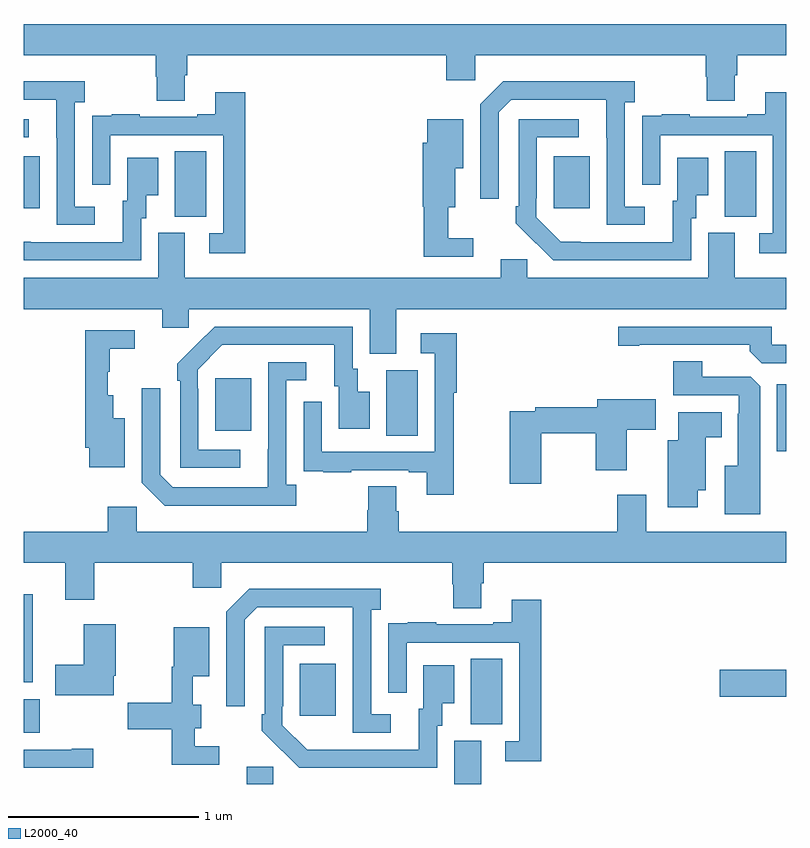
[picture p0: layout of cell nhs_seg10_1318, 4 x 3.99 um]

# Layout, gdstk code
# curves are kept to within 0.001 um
import gdstk
lib = gdstk.Library(unit=1e-6, precision=1e-09)
def R(c, l, rs):  # rectangles x0, y0, x1, y1
    for r in rs: c.add(gdstk.rectangle(r[:2], r[2:], *l))
def P(c, l, *ps):  # polygons
    for p in ps: c.add(gdstk.Polygon(p, *l))
L2000_40 = (2000, 40)

nhs_seg10_1318 = lib.new_cell('nhs_seg10_1318')
R(nhs_seg10_1318, L2000_40, [(180.17,1288.5,180.309,1288.59), (181.259,1288.5,181.399,1288.728), (179,1288.769,179.083,1288.945), (181.346,1288.813,181.51,1289.156), (180.449,1288.857,180.637,1289.131), (182.652,1288.957,183,1289.099), (179,1289.033,179.047,1289.497), (182.951,1290.245,183,1290.598), (180.902,1290.328,181.066,1290.672), (180.005,1290.353,180.193,1290.628), (179.792,1291.477,179.956,1291.82), (182.678,1291.477,182.842,1291.82), (179,1291.521,179.083,1291.795), (181.781,1291.521,181.969,1291.795), (179,1291.893,179.026,1291.989)])
P(nhs_seg10_1318, L2000_40, [(179.845,1292.218),(179.858,1292.218),(179.858,1292.324),(181.217,1292.324),(181.217,1292.193),(181.368,1292.193),(181.368,1292.324),(182.579,1292.324),(182.579,1292.211),(182.584,1292.211),(182.584,1292.086),(182.731,1292.086),(182.731,1292.218),(182.744,1292.218),(182.744,1292.324),(183,1292.324),(183,1292.488),(179,1292.488),(179,1292.324),(179.693,1292.324),(179.693,1292.211),(179.698,1292.211),(179.698,1292.086),(179.845,1292.086)],
  [(182.257,1291.53),(182.154,1291.53),(182.154,1292.078),(182.206,1292.078),(182.206,1292.188),(181.516,1292.188),(181.395,1292.067),(181.395,1291.572),(181.491,1291.572),(181.491,1292.025),(181.557,1292.091),(182.057,1292.091),(182.058,1291.434),(182.257,1291.434)],
  [(179.371,1291.53),(179.268,1291.53),(179.268,1292.078),(179.32,1292.078),(179.32,1292.188),(179,1292.188),(179,1292.091),(179.171,1292.091),(179.171,1291.891),(179.172,1291.891),(179.172,1291.434),(179.371,1291.434)],
  [(180.161,1292.131),(180.005,1292.131),(180.005,1292.014),(179.909,1292.014),(179.909,1292.001),(179.609,1292.001),(179.609,1292.014),(179.461,1292.014),(179.461,1292.007),(179.359,1292.007),(179.359,1291.898),(179.358,1291.898),(179.358,1291.644),(179.454,1291.644),(179.454,1291.905),(180.045,1291.905),(180.045,1291.389),(179.973,1291.389),(179.973,1291.284),(180.161,1291.284)],
  [(183,1292.131),(182.891,1292.131),(182.891,1292.014),(182.795,1292.014),(182.795,1292.001),(182.495,1292.001),(182.495,1292.014),(182.347,1292.014),(182.347,1292.007),(182.245,1292.007),(182.245,1291.898),(182.244,1291.898),(182.244,1291.644),(182.34,1291.644),(182.34,1291.905),(182.931,1291.905),(182.931,1291.389),(182.859,1291.389),(182.859,1291.284),(183,1291.284)],
  [(182.502,1291.47),(182.527,1291.47),(182.527,1291.589),(182.59,1291.589),(182.59,1291.786),(182.429,1291.786),(182.429,1291.56),(182.405,1291.56),(182.405,1291.344),(181.818,1291.345),(181.689,1291.473),(181.689,1291.573),(181.692,1291.573),(181.692,1291.893),(181.912,1291.893),(181.912,1291.989),(181.596,1291.989),(181.596,1291.531),(181.581,1291.531),(181.581,1291.443),(181.778,1291.248),(182.502,1291.248)],
  [(181.357,1291.363),(181.228,1291.363),(181.228,1291.526),(181.264,1291.526),(181.264,1291.73),(181.306,1291.73),(181.306,1291.987),(181.118,1291.987),(181.118,1291.866),(181.094,1291.866),(181.094,1291.53),(181.099,1291.53),(181.099,1291.266),(181.357,1291.266)],
  [(179.616,1291.47),(179.641,1291.47),(179.641,1291.589),(179.704,1291.589),(179.704,1291.786),(179.543,1291.786),(179.543,1291.56),(179.519,1291.56),(179.519,1291.344),(179.035,1291.344),(179.035,1291.345),(179,1291.345),(179,1291.248),(179.616,1291.248)],
  [(180.955,1290.992),(183,1290.992),(183,1291.156),(182.731,1291.156),(182.731,1291.392),(182.591,1291.392),(182.591,1291.156),(181.641,1291.156),(181.641,1291.254),(181.502,1291.254),(181.502,1291.156),(179.845,1291.156),(179.845,1291.392),(179.705,1291.392),(179.705,1291.156),(179,1291.156),(179,1290.992),(179.726,1290.992),(179.726,1290.894),(179.865,1290.894),(179.865,1290.992),(180.815,1290.992),(180.815,1290.757),(180.955,1290.757)],
  [(183,1290.804),(182.925,1290.804),(182.925,1290.9),(182.118,1290.9),(182.118,1290.799),(182.23,1290.799),(182.23,1290.804),(182.81,1290.804),(182.81,1290.77),(182.871,1290.708),(183,1290.708)],
  [(180.136,1290.255),(179.916,1290.255),(179.916,1290.575),(179.913,1290.575),(179.913,1290.675),(180.042,1290.804),(180.629,1290.804),(180.629,1290.588),(180.653,1290.588),(180.653,1290.363),(180.814,1290.363),(180.814,1290.559),(180.751,1290.559),(180.751,1290.678),(180.726,1290.678),(180.726,1290.9),(180.002,1290.9),(179.805,1290.705),(179.805,1290.617),(179.82,1290.617),(179.82,1290.159),(180.136,1290.159)],
  [(179.53,1290.418),(179.47,1290.418),(179.47,1290.541),(179.441,1290.541),(179.441,1290.663),(179.452,1290.663),(179.452,1290.784),(179.581,1290.784),(179.581,1290.882),(179.323,1290.882),(179.323,1290.265),(179.342,1290.265),(179.342,1290.161),(179.53,1290.161)],
  [(181.256,1290.552),(181.271,1290.552),(181.271,1290.865),(181.083,1290.865),(181.083,1290.759),(181.155,1290.759),(181.155,1290.243),(180.564,1290.243),(180.564,1290.505),(180.468,1290.505),(180.468,1290.25),(180.469,1290.25),(180.469,1290.141),(180.571,1290.141),(180.571,1290.135),(180.719,1290.135),(180.719,1290.147),(181.019,1290.147),(181.019,1290.135),(181.115,1290.135),(181.115,1290.018),(181.256,1290.018)],
  [(182.863,1290.587),(182.814,1290.636),(182.56,1290.636),(182.56,1290.719),(182.408,1290.719),(182.408,1290.54),(182.751,1290.54),(182.751,1290.443),(182.747,1290.443),(182.747,1290.169),(182.678,1290.169),(182.678,1289.915),(182.863,1289.915)],
  [(180.43,1290.07),(180.378,1290.07),(180.378,1290.618),(180.481,1290.618),(180.481,1290.714),(180.282,1290.714),(180.281,1290.057),(179.781,1290.057),(179.715,1290.123),(179.715,1290.577),(179.619,1290.577),(179.619,1290.081),(179.74,1289.96),(180.43,1289.96)],
  [(181.716,1290.34),(182.002,1290.34),(182.002,1290.147),(182.164,1290.147),(182.164,1290.358),(182.317,1290.358),(182.317,1290.52),(182.009,1290.52),(182.009,1290.476),(181.684,1290.476),(181.684,1290.456),(181.55,1290.456),(181.55,1290.075),(181.716,1290.075)],
  [(182.536,1290.041),(182.578,1290.041),(182.578,1290.32),(182.662,1290.32),(182.662,1290.451),(182.435,1290.451),(182.435,1290.304),(182.378,1290.304),(182.378,1289.952),(182.536,1289.952)],
  [(181.399,1289.554),(181.412,1289.554),(181.412,1289.66),(183,1289.66),(183,1289.824),(182.266,1289.824),(182.266,1290.019),(182.114,1290.019),(182.114,1289.824),(180.968,1289.824),(180.968,1289.93),(180.955,1289.93),(180.955,1290.062),(180.808,1290.062),(180.808,1289.937),(180.803,1289.937),(180.803,1289.824),(179.592,1289.824),(179.592,1289.956),(179.441,1289.956),(179.441,1289.824),(179,1289.824),(179,1289.66),(179.216,1289.66),(179.216,1289.466),(179.369,1289.466),(179.369,1289.66),(179.885,1289.66),(179.885,1289.529),(180.036,1289.529),(180.036,1289.66),(181.247,1289.66),(181.247,1289.547),(181.252,1289.547),(181.252,1289.422),(181.399,1289.422)],
  [(180.925,1288.866),(180.822,1288.866),(180.822,1289.414),(180.874,1289.414),(180.874,1289.524),(180.184,1289.524),(180.063,1289.403),(180.063,1288.908),(180.159,1288.908),(180.159,1289.361),(180.225,1289.427),(180.725,1289.427),(180.726,1288.77),(180.925,1288.77)],
  [(181.715,1289.467),(181.559,1289.467),(181.559,1289.35),(181.463,1289.35),(181.463,1289.337),(181.163,1289.337),(181.163,1289.35),(181.015,1289.35),(181.015,1289.343),(180.913,1289.343),(180.913,1289.234),(180.912,1289.234),(180.912,1288.98),(181.008,1288.98),(181.008,1289.241),(181.599,1289.241),(181.599,1288.725),(181.527,1288.725),(181.527,1288.62),(181.715,1288.62)],
  [(179.472,1289.068),(179.481,1289.068),(179.481,1289.338),(179.315,1289.338),(179.315,1289.127),(179.166,1289.127),(179.166,1288.965),(179.472,1288.965)],
  [(181.17,1288.806),(181.195,1288.806),(181.195,1288.925),(181.258,1288.925),(181.258,1289.122),(181.097,1289.122),(181.097,1288.896),(181.073,1288.896),(181.073,1288.68),(180.486,1288.681),(180.357,1288.809),(180.357,1288.909),(180.36,1288.909),(180.36,1289.229),(180.58,1289.229),(180.58,1289.325),(180.264,1289.325),(180.264,1288.867),(180.249,1288.867),(180.249,1288.779),(180.446,1288.584),(181.17,1288.584)],
  [(180.025,1288.698),(179.896,1288.698),(179.896,1288.793),(179.932,1288.793),(179.932,1288.915),(179.885,1288.915),(179.885,1289.066),(179.974,1289.066),(179.974,1289.323),(179.786,1289.323),(179.786,1289.115),(179.775,1289.115),(179.775,1288.926),(179.544,1288.926),(179.544,1288.786),(179.775,1288.786),(179.775,1288.602),(180.025,1288.602)],
  [(179.365,1288.685),(179.252,1288.685),(179.252,1288.68),(179,1288.68),(179,1288.584),(179.365,1288.584)])

lib.write_gds('nhs_seg10_1318.gds')
